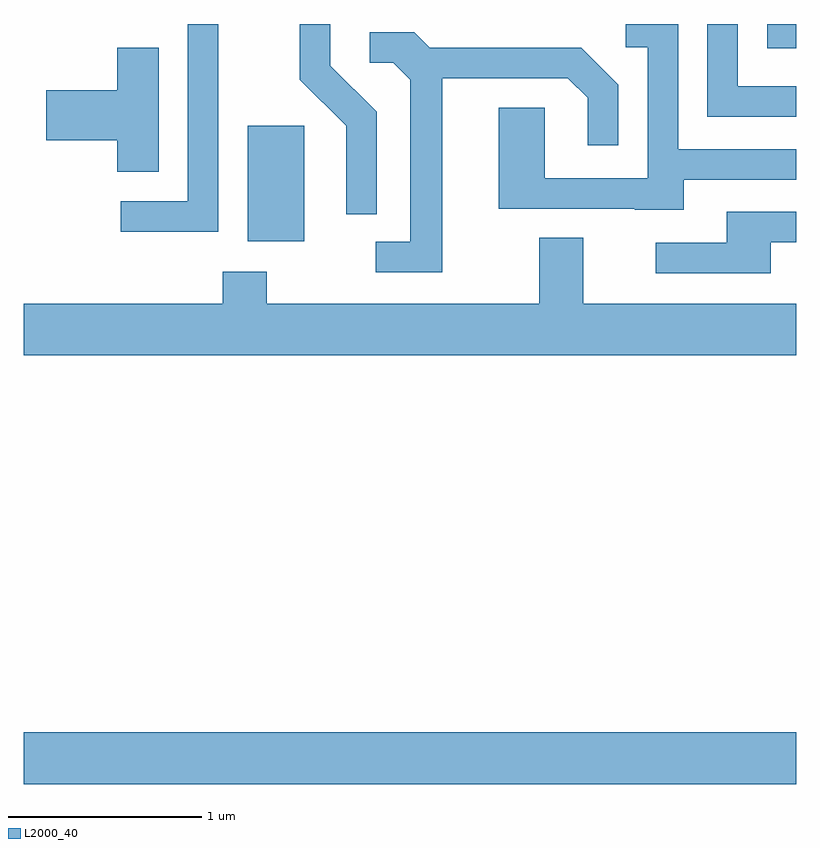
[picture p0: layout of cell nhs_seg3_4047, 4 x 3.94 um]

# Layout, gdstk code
import gdstk
lib = gdstk.Library(unit=1e-6, precision=1e-09)
def R(c, l, rs):  # rectangles x0, y0, x1, y1
    for r in rs: c.add(gdstk.rectangle(r[:2], r[2:], *l))
def P(c, l, *ps):  # polygons
    for p in ps: c.add(gdstk.Polygon(p, *l))
L2000_40 = (2000, 40)

nhs_seg3_4047 = lib.new_cell('nhs_seg3_4047')
R(nhs_seg3_4047, L2000_40, [(303.611,1185.956,307.611,1186.224), (304.771,1188.766,305.064,1189.364), (307.461,1189.766,307.611,1189.892)])
P(nhs_seg3_4047, L2000_40, [(307.029,1189.086),(307.611,1189.086),(307.611,1189.244),(306.999,1189.244),(306.999,1189.892),(306.728,1189.892),(306.728,1189.771),(306.841,1189.771),(306.841,1189.094),(306.309,1189.094),(306.309,1189.459),(306.071,1189.459),(306.071,1188.936),(306.775,1188.936),(306.775,1188.931),(307.029,1188.931)],
  [(304.619,1189.892),(304.461,1189.892),(304.461,1188.974),(304.113,1188.974),(304.113,1188.816),(304.619,1188.816)],
  [(305.439,1189.437),(305.199,1189.677),(305.199,1189.892),(305.041,1189.892),(305.041,1189.604),(305.281,1189.364),(305.281,1188.908),(305.439,1188.908)],
  [(307.611,1189.569),(307.309,1189.569),(307.309,1189.892),(307.151,1189.892),(307.151,1189.411),(307.611,1189.411)],
  [(305.779,1189.611),(306.429,1189.611),(306.531,1189.509),(306.531,1189.263),(306.689,1189.263),(306.689,1189.577),(306.497,1189.769),(305.712,1189.769),(305.632,1189.849),(305.403,1189.849),(305.403,1189.691),(305.524,1189.691),(305.611,1189.604),(305.611,1188.764),(305.433,1188.764),(305.433,1188.606),(305.779,1188.606)],
  [(304.309,1189.769),(304.096,1189.769),(304.096,1189.549),(303.726,1189.549),(303.726,1189.291),(304.096,1189.291),(304.096,1189.126),(304.309,1189.126)],
  [(307.479,1188.761),(307.611,1188.761),(307.611,1188.919),(307.251,1188.919),(307.251,1188.759),(306.883,1188.759),(306.883,1188.601),(307.479,1188.601)],
  [(307.611,1188.444),(306.509,1188.444),(306.509,1188.784),(306.281,1188.784),(306.281,1188.444),(304.869,1188.444),(304.869,1188.609),(304.641,1188.609),(304.641,1188.444),(303.611,1188.444),(303.611,1188.176),(307.611,1188.176)])

lib.write_gds('nhs_seg3_4047.gds')
